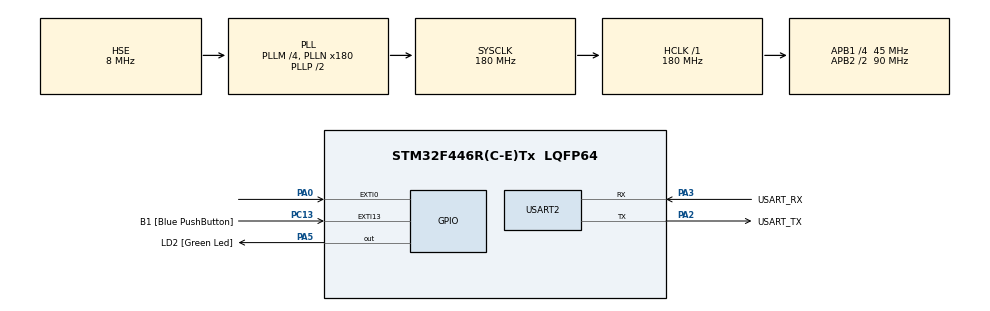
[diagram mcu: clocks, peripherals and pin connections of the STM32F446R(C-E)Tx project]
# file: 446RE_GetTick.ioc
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Mcu.Family=STM32F4
Mcu.Name=STM32F446R(C-E)Tx
Mcu.Package=LQFP64
NVIC.EXTI0_IRQn=true\:0\:0\:false\:false\:true\:true
NVIC.PriorityGroup=NVIC_PRIORITYGROUP_0
NVIC.RCC_IRQn=true\:0\:0\:false\:false\:true\:true
PA0-WKUP.GPIO_ModeDefaultEXTI=GPIO_MODE_IT_FALLING
PA0-WKUP.GPIO_PuPd=GPIO_PULLUP
PA0-WKUP.Signal=GPXTI0
PA13.GPIO_Label=TMS
PA13.Mode=Serial_Wire
PA13.Signal=SYS_JTMS-SWDIO
PA14.GPIO_Label=TCK
PA14.Mode=Serial_Wire
PA14.Signal=SYS_JTCK-SWCLK
PA2.GPIO_Label=USART_TX
PA2.Mode=Asynchronous
PA2.Signal=USART2_TX
PA3.GPIO_Label=USART_RX
PA3.Mode=Asynchronous
PA3.Signal=USART2_RX
PA5.GPIO_Label=LD2 [Green Led]
PA5.Signal=GPIO_Output
PB3.GPIO_Label=SWO
PB3.Signal=SYS_JTDO-SWO
PC13.GPIO_Label=B1 [Blue PushButton]
PC13.GPIO_ModeDefaultEXTI=GPIO_MODE_IT_FALLING
PC13.Signal=GPXTI13
PC14-OSC32_IN.Mode=LSE-External-Oscillator
PC14-OSC32_IN.Signal=RCC_OSC32_IN
PC15-OSC32_OUT.Mode=LSE-External-Oscillator
PC15-OSC32_OUT.Signal=RCC_OSC32_OUT
PH0-OSC_IN.Mode=HSE-External-Oscillator
PH0-OSC_IN.Signal=RCC_OSC_IN
PH1-OSC_OUT.Mode=HSE-External-Oscillator
PH1-OSC_OUT.Signal=RCC_OSC_OUT
ProjectManager.HeapSize=0x200
ProjectManager.StackSize=0x400
ProjectManager.TargetToolchain=TrueSTUDIO
RCC.48MHZClocksFreq_Value=84000000
RCC.AHBFreq_Value=180000000
RCC.APB1CLKDivider=RCC_HCLK_DIV4
RCC.APB1Freq_Value=45000000
RCC.APB1TimFreq_Value=90000000
RCC.APB2CLKDivider=RCC_HCLK_DIV2
RCC.APB2Freq_Value=90000000
RCC.APB2TimFreq_Value=180000000
RCC.CortexFreq_Value=180000000
RCC.FLatency-AdvancedSettings=FLASH_LATENCY_5
RCC.HCLKFreq_Value=180000000
RCC.HSE_VALUE=8000000
RCC.HSI_VALUE=16000000
RCC.PLLM=4
RCC.PLLN=180
RCC.PLLSourceVirtual=RCC_PLLSOURCE_HSE
RCC.SYSCLKFreq_VALUE=180000000
RCC.SYSCLKSource=RCC_SYSCLKSOURCE_PLLCLK
RCC.USBFreq_Value=180000000
RCC.VCOOutputFreq_Value=360000000
USART2.VirtualMode=VM_ASYNC
board=NUCLEO-F446RE

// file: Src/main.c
/**
  ******************************************************************************
  * @file           : main.c
  * @brief          : Main program body
  ******************************************************************************
  ** This notice applies to any and all portions of this file
  * that are not between comment pairs USER CODE BEGIN and
  * USER CODE END. Other portions of this file, whether
  * inserted by the user or by software development tools
  * are owned by their respective copyright owners.
  *
  * COPYRIGHT(c) 2018 STMicroelectronics
  *
  * Redistribution and use in source and binary forms, with or without modification,
  * are permitted provided that the following conditions are met:
  *   1. Redistributions of source code must retain the above copyright notice,
  *      this list of conditions and the following disclaimer.
  *   2. Redistributions in binary form must reproduce the above copyright notice,
  *      this list of conditions and the following disclaimer in the documentation
  *      and/or other materials provided with the distribution.
  *   3. Neither the name of STMicroelectronics nor the names of its contributors
  *      may be used to endorse or promote products derived from this software
  *      without specific prior written permission.
  *
  * THIS SOFTWARE IS PROVIDED BY THE COPYRIGHT HOLDERS AND CONTRIBUTORS "AS IS"
  * AND ANY EXPRESS OR IMPLIED WARRANTIES, INCLUDING, BUT NOT LIMITED TO, THE
  * IMPLIED WARRANTIES OF MERCHANTABILITY AND FITNESS FOR A PARTICULAR PURPOSE ARE
  * DISCLAIMED. IN NO EVENT SHALL THE COPYRIGHT HOLDER OR CONTRIBUTORS BE LIABLE
  * FOR ANY DIRECT, INDIRECT, INCIDENTAL, SPECIAL, EXEMPLARY, OR CONSEQUENTIAL
  * DAMAGES (INCLUDING, BUT NOT LIMITED TO, PROCUREMENT OF SUBSTITUTE GOODS OR
  * SERVICES; LOSS OF USE, DATA, OR PROFITS; OR BUSINESS INTERRUPTION) HOWEVER
  * CAUSED AND ON ANY THEORY OF LIABILITY, WHETHER IN CONTRACT, STRICT LIABILITY,
  * OR TORT (INCLUDING NEGLIGENCE OR OTHERWISE) ARISING IN ANY WAY OUT OF THE USE
  * OF THIS SOFTWARE, EVEN IF ADVISED OF THE POSSIBILITY OF SUCH DAMAGE.
  *
  ******************************************************************************
  */
#include "main.h"
#include "stm32f4xx_hal.h"

/* USER CODE BEGIN Includes */
#include <stdio.h>

#define duration	250

/* USER CODE END Includes */

UART_HandleTypeDef huart2;

/* USER CODE BEGIN PV */
/* Private variables ---------------------------------------------------------*/
volatile uint32_t oldTick=0,newTick=0;

/* USER CODE END PV */

void SystemClock_Config(void);
static void MX_GPIO_Init(void);
static void MX_USART2_UART_Init(void);

/* USER CODE BEGIN PFP */
/* Private function prototypes -----------------------------------------------*/

/* USER CODE END PFP */

/* USER CODE BEGIN 0 */
void HAL_GPIO_EXTI_Callback(uint16_t GPIO_Pin)
{
	if(GPIO_Pin==GPIO_PIN_0)
	{
		newTick = HAL_GetTick();

		if((newTick-oldTick) < duration) return;
		HAL_GPIO_TogglePin(LD2_GPIO_Port, LD2_Pin);
		oldTick = newTick;
	}
}

//**********************************************************************
// printf
//**********************************************************************

#ifdef __GNUC__
int _write(int file,uint8_t*ptr,int len)
{
	HAL_UART_Transmit(&huart2,ptr,len,1000);
return len;
}
#elif (__ICCARM__||__CC_ARM)
int fputc(int c,FILE*stream)
{
	HAL_UART_Transmit(&huart2,(uint8_t*)&c,1,1000);
	return c;
}
#endif

/* USER CODE END 0 */

int main(void)
{

  /* MCU Configuration----------------------------------------------------------*/

  /* Reset of all peripherals, Initializes the Flash interface and the Systick. */
  HAL_Init();

  /* Configure the system clock */
  SystemClock_Config();

  /* Initialize all configured peripherals */
  MX_GPIO_Init();
  MX_USART2_UART_Init();

  /* Infinite loop */
  /* USER CODE BEGIN WHILE */

  uint32_t tickCount=0;
  while (1)
  {

  /* USER CODE END WHILE */

  /* USER CODE BEGIN 3 */
	  tickCount = HAL_GetTick();
	  printf("Tick : %lu\r\n",tickCount);
	  HAL_Delay(1000);
  }
  /* USER CODE END 3 */

}

void SystemClock_Config(void)
{

  RCC_OscInitTypeDef RCC_OscInitStruct;
  RCC_ClkInitTypeDef RCC_ClkInitStruct;

    /**Configure the main internal regulator output voltage
    */
  __HAL_RCC_PWR_CLK_ENABLE();

  __HAL_PWR_VOLTAGESCALING_CONFIG(PWR_REGULATOR_VOLTAGE_SCALE1);

    /**Initializes the CPU, AHB and APB busses clocks
    */
  RCC_OscInitStruct.OscillatorType = RCC_OSCILLATORTYPE_HSE;
  RCC_OscInitStruct.HSEState = RCC_HSE_ON;
  RCC_OscInitStruct.PLL.PLLState = RCC_PLL_ON;
  RCC_OscInitStruct.PLL.PLLSource = RCC_PLLSOURCE_HSE;
  RCC_OscInitStruct.PLL.PLLM = 4;
  RCC_OscInitStruct.PLL.PLLN = 180;
  RCC_OscInitStruct.PLL.PLLP = RCC_PLLP_DIV2;
  RCC_OscInitStruct.PLL.PLLQ = 2;
  RCC_OscInitStruct.PLL.PLLR = 2;
  if (HAL_RCC_OscConfig(&RCC_OscInitStruct) != HAL_OK)
  {
    _Error_Handler(__FILE__, __LINE__);
  }

    /**Activate the Over-Drive mode
    */
  if (HAL_PWREx_EnableOverDrive() != HAL_OK)
  {
    _Error_Handler(__FILE__, __LINE__);
  }

    /**Initializes the CPU, AHB and APB busses clocks
    */
  RCC_ClkInitStruct.ClockType = RCC_CLOCKTYPE_HCLK|RCC_CLOCKTYPE_SYSCLK
                              |RCC_CLOCKTYPE_PCLK1|RCC_CLOCKTYPE_PCLK2;
  RCC_ClkInitStruct.SYSCLKSource = RCC_SYSCLKSOURCE_PLLCLK;
  RCC_ClkInitStruct.AHBCLKDivider = RCC_SYSCLK_DIV1;
  RCC_ClkInitStruct.APB1CLKDivider = RCC_HCLK_DIV4;
  RCC_ClkInitStruct.APB2CLKDivider = RCC_HCLK_DIV2;

  if (HAL_RCC_ClockConfig(&RCC_ClkInitStruct, FLASH_LATENCY_5) != HAL_OK)
  {
    _Error_Handler(__FILE__, __LINE__);
  }

    /**Configure the Systick interrupt time
    */
  HAL_SYSTICK_Config(HAL_RCC_GetHCLKFreq()/1000);

    /**Configure the Systick
    */
  HAL_SYSTICK_CLKSourceConfig(SYSTICK_CLKSOURCE_HCLK);

  /* SysTick_IRQn interrupt configuration */
  HAL_NVIC_SetPriority(SysTick_IRQn, 0, 0);
}

/* USART2 init function */
static void MX_USART2_UART_Init(void)
{

  huart2.Instance = USART2;
  huart2.Init.BaudRate = 115200;
  huart2.Init.WordLength = UART_WORDLENGTH_8B;
  huart2.Init.StopBits = UART_STOPBITS_1;
  huart2.Init.Parity = UART_PARITY_NONE;
  huart2.Init.Mode = UART_MODE_TX_RX;
  huart2.Init.HwFlowCtl = UART_HWCONTROL_NONE;
  huart2.Init.OverSampling = UART_OVERSAMPLING_16;
  if (HAL_UART_Init(&huart2) != HAL_OK)
  {
    _Error_Handler(__FILE__, __LINE__);
  }

}

/** Configure pins as
        * Analog
        * Input
        * Output
        * EVENT_OUT
        * EXTI
*/
static void MX_GPIO_Init(void)
{

  GPIO_InitTypeDef GPIO_InitStruct;

  /* GPIO Ports Clock Enable */
  __HAL_RCC_GPIOC_CLK_ENABLE();
  __HAL_RCC_GPIOH_CLK_ENABLE();
  __HAL_RCC_GPIOA_CLK_ENABLE();
  __HAL_RCC_GPIOB_CLK_ENABLE();

  /*Configure GPIO pin Output Level */
  HAL_GPIO_WritePin(LD2_GPIO_Port, LD2_Pin, GPIO_PIN_RESET);

  /*Configure GPIO pin : B1_Pin */
  GPIO_InitStruct.Pin = B1_Pin;
  GPIO_InitStruct.Mode = GPIO_MODE_IT_FALLING;
  GPIO_InitStruct.Pull = GPIO_NOPULL;
  HAL_GPIO_Init(B1_GPIO_Port, &GPIO_InitStruct);

  /*Configure GPIO pin : PA0 */
  GPIO_InitStruct.Pin = GPIO_PIN_0;
  GPIO_InitStruct.Mode = GPIO_MODE_IT_FALLING;
  GPIO_InitStruct.Pull = GPIO_PULLUP;
  HAL_GPIO_Init(GPIOA, &GPIO_InitStruct);

  /*Configure GPIO pin : LD2_Pin */
  GPIO_InitStruct.Pin = LD2_Pin;
  GPIO_InitStruct.Mode = GPIO_MODE_OUTPUT_PP;
  GPIO_InitStruct.Pull = GPIO_NOPULL;
  GPIO_InitStruct.Speed = GPIO_SPEED_FREQ_LOW;
  HAL_GPIO_Init(LD2_GPIO_Port, &GPIO_InitStruct);

  /* EXTI interrupt init*/
  HAL_NVIC_SetPriority(EXTI0_IRQn, 0, 0);
  HAL_NVIC_EnableIRQ(EXTI0_IRQn);

}

void _Error_Handler(char *file, int line)
{
  while(1)
  {
  }
}

/************************ (C) COPYRIGHT STMicroelectronics *****END OF FILE****/
